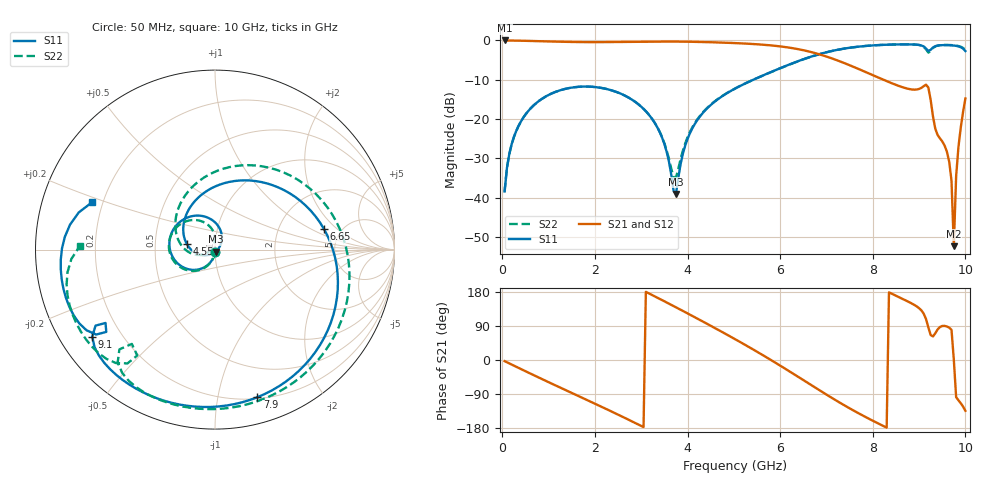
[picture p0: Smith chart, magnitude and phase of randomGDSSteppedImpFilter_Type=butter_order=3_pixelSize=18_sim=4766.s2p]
! freq	dB(S11)	phase(S11)	dB(S12)	phase(S12)
!  dB(S21)	phase(S21)	dB(S22)	phase(S22)
!S-par simulation data
#  GHz  S  DB  R 50
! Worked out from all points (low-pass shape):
!   200 points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, 50 MHz to 10 GHz, reference 50 ohm
!   highest |S21| = -0.01 dB at 50 MHz (marker M1); lowest = -52.3 dB at 9.75 GHz (marker M2)
!   |S21| within 3 dB of the highest: start of sweep to 6.687 GHz
!   lowest |S11| = -39.0 dB at 3.75 GHz (marker M3), VSWR 1.02, Z = 50.4 - j1.07 ohm
!   |S11| at or under -10 dB: start of sweep to 5.419 GHz
!   |S22| runs from -38.4 to -1.0 dB; largest |S21 - S12| = 0
!   S11 on the Smith chart (normalised r, x): 50 MHz: 1.00, -0.02; 4.55 GHz: 0.73, +0.05; 6.65 GHz: 3.68, +1.38; 7.9 GHz: 0.21, -1.31; 9.1 GHz: 0.10, -0.32; 10 GHz: 0.16, +0.18
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0.05  -38.41 -92.0  -0.01 -3.0  -0.01 -3.0  -38.41 -91.8
0.2  -26.48 -102.2  -0.03 -11.9  -0.03 -11.9  -26.48 -101.6
0.5  -18.85 -120.8  -0.10 -29.6  -0.10 -29.6  -18.85 -119.1
1.75  -11.73 164.9  -0.43 -101.1  -0.43 -101.1  -11.74 171.8
2.65  -14.05 109.9  -0.37 -153.0  -0.37 -153.0  -14.05 123.8
3.4  -23.34 55.9  -0.28 161.2  -0.28 161.2  -23.26 90.4
3.75  -39.01 -71.1  -0.29 139.1  -0.29 139.1  -34.86 161.9
4  -25.04 -145.4  -0.32 123.0  -0.32 123.0  -24.63 -156.8
4.55  -15.92 168.7  -0.47 87.1  -0.47 87.1  -15.83 -178.8
5.05  -12.10 131.0  -0.69 53.4  -0.69 53.4  -12.07 152.1
5.85  -7.80 70.7  -1.32 -3.6  -1.32 -3.6  -7.82 98.6
6.65  -4.19 10.8  -2.90 -64.6  -2.90 -64.6  -4.22 36.7
6.7  -4.00 7.1  -3.05 -68.4  -3.05 -68.4  -4.03 32.7
7.3  -2.24 -35.6  -5.37 -113.5  -5.37 -113.5  -2.25 -14.0
7.9  -1.35 -74.0  -8.31 -154.0  -8.31 -154.0  -1.35 -56.1
8.35  -1.07 -100.1  -10.59 178.6  -10.59 178.6  -1.06 -84.0
9.1  -1.54 -144.7  -11.63 122.2  -11.63 122.2  -1.62 -130.8
9.65  -1.21 -168.9  -30.81 85.5  -30.81 85.5  -1.16 -151.9
9.7  -1.24 -172.5  -35.64 79.8  -35.64 79.8  -1.19 -155.3
9.75  -1.30 -176.3  -52.32 1.0  -52.32 1.0  -1.23 -158.9
9.8  -1.39 179.6  -34.57 -98.0  -34.57 -98.0  -1.30 -162.7
10  -2.70 158.8  -14.76 -134.1  -14.76 -134.1  -2.46 178.5
